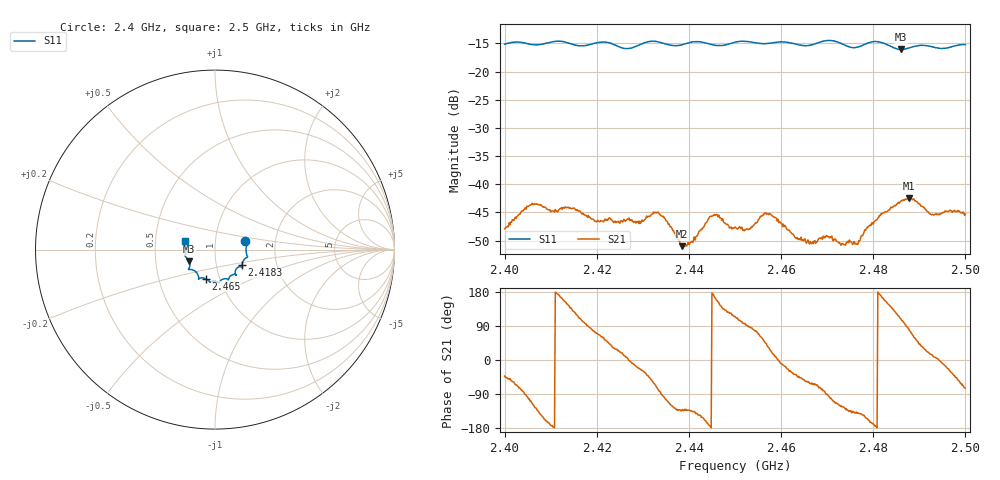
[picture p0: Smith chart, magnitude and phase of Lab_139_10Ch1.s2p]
# Hz S RI R 50
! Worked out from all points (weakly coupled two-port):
!   601 points, 2.4 GHz to 2.5 GHz, reference 50 ohm
!   highest |S21| = -42.46 dB at 2.4877 GHz (marker M1); lowest = -51.0 dB at 2.4385 GHz (marker M2)
!   lowest |S11| = -16.1 dB at 2.486 GHz (marker M3), VSWR 1.37, Z = 37.2 - j4.96 ohm
!   |S11| at or under -10 dB: start of sweep to end of sweep
!   S12 and S22 are empty: the file has one direction only
!   S11 on the Smith chart (normalised r, x): 2.4 GHz: 1.40, +0.13; 2.4183 GHz: 1.33, -0.24; 2.465 GHz: 0.86, -0.29; 2.5 GHz: 0.71, +0.07
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2.4e9  0.1692 0.046  0.00298 -0.00271  0 0  0 0
2.406e9  0.1735 0.00885  -0.00285 -0.00615  0 0  0 0
2.416667e9  0.1549 -0.068  -0.00146 0.00534  0 0  0 0
2.418333e9  0.15 -0.0869  0.000313 0.00509  0 0  0 0
2.429e9  0.1123 -0.1292  0.00436 -0.00173  0 0  0 0
2.433333e9  0.1174 -0.141  0.00113 -0.00555  0 0  0 0
2.4385e9  0.0799 -0.1536  -0.00187 -0.00211  0 0  0 0
2.4405e9  0.0757 -0.1662  -0.00211 -0.00223  0 0  0 0
2.445e9  0.062 -0.1622  -0.00518 0.000265  0 0  0 0
2.45e9  0.0256 -0.1808  -0.00176 0.00379  0 0  0 0
2.453167e9  0.0184 -0.1831  0.000193 0.00402  0 0  0 0
2.457167e9  -0.0115 -0.1775  0.00452 0.00309  0 0  0 0
2.465e9  -0.0522 -0.1618  0.00196 -0.00256  0 0  0 0
2.466667e9  -0.0713 -0.1575  0.00147 -0.00259  0 0  0 0
2.469667e9  -0.0916 -0.1642  7.22e-05 -0.00344  0 0  0 0
2.4765e9  -0.1159 -0.1166  -0.00227 -0.00187  0 0  0 0
2.478667e9  -0.1397 -0.1107  -0.0037 -0.0018  0 0  0 0
2.483333e9  -0.1414 -0.0964  -0.00489 0.00329  0 0  0 0
2.486e9  -0.1431 -0.0651  -0.00223 0.00674  0 0  0 0
2.487667e9  -0.1543 -0.0491  0.000944 0.00747  0 0  0 0
2.492667e9  -0.165 -0.0232  0.0052 0.00128  0 0  0 0
2.5e9  -0.1672 0.047  0.00148 -0.00524  0 0  0 0
